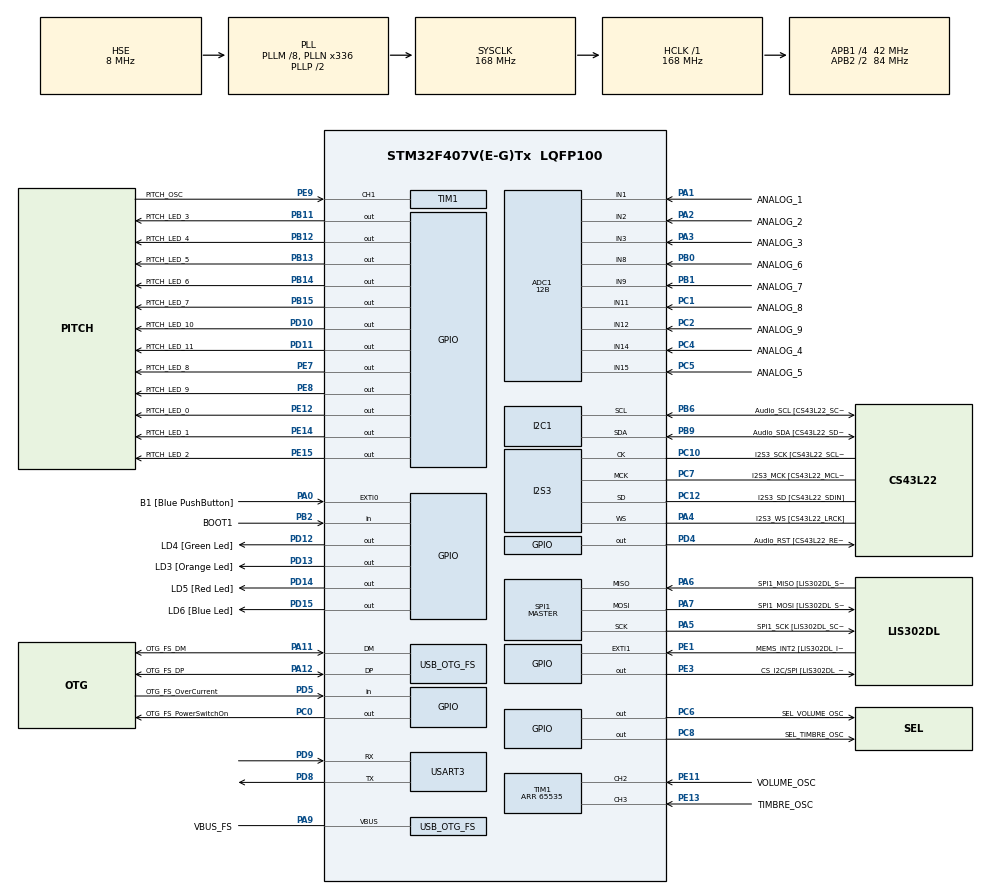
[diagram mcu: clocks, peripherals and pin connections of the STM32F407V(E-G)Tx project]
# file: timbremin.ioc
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ADC1.Channel-0\#ChannelRegularConversion=ADC_CHANNEL_1
ADC1.Channel-1\#ChannelRegularConversion=ADC_CHANNEL_2
ADC1.Channel-2\#ChannelRegularConversion=ADC_CHANNEL_3
ADC1.Channel-3\#ChannelRegularConversion=ADC_CHANNEL_14
ADC1.Channel-4\#ChannelRegularConversion=ADC_CHANNEL_15
ADC1.Channel-5\#ChannelRegularConversion=ADC_CHANNEL_8
ADC1.Channel-6\#ChannelRegularConversion=ADC_CHANNEL_9
ADC1.Channel-7\#ChannelRegularConversion=ADC_CHANNEL_11
ADC1.Channel-8\#ChannelRegularConversion=ADC_CHANNEL_12
ADC1.ClockPrescaler=ADC_CLOCK_SYNC_PCLK_DIV6
ADC1.ContinuousConvMode=DISABLE
ADC1.DMAContinuousRequests=ENABLE
ADC1.DataAlign=ADC_DATAALIGN_RIGHT
ADC1.DiscontinuousConvMode=DISABLE
ADC1.EOCSelection=ADC_EOC_SEQ_CONV
ADC1.EnableAnalogWatchDog=false
ADC1.ExternalTrigConv=ADC_SOFTWARE_START
ADC1.ExternalTrigConvEdge=ADC_EXTERNALTRIGCONVEDGE_NONE
ADC1.InjNumberOfConversion=0
ADC1.NbrOfConversion=9
ADC1.NbrOfConversionFlag=1
ADC1.Rank-0\#ChannelRegularConversion=1
ADC1.Rank-1\#ChannelRegularConversion=2
ADC1.Rank-2\#ChannelRegularConversion=3
ADC1.Rank-3\#ChannelRegularConversion=4
ADC1.Rank-4\#ChannelRegularConversion=5
ADC1.Rank-5\#ChannelRegularConversion=6
ADC1.Rank-6\#ChannelRegularConversion=7
ADC1.Rank-7\#ChannelRegularConversion=8
ADC1.Rank-8\#ChannelRegularConversion=9
ADC1.Resolution=ADC_RESOLUTION_12B
ADC1.SamplingTime-0\#ChannelRegularConversion=ADC_SAMPLETIME_112CYCLES
ADC1.SamplingTime-1\#ChannelRegularConversion=ADC_SAMPLETIME_112CYCLES
ADC1.SamplingTime-2\#ChannelRegularConversion=ADC_SAMPLETIME_112CYCLES
ADC1.SamplingTime-3\#ChannelRegularConversion=ADC_SAMPLETIME_112CYCLES
ADC1.SamplingTime-4\#ChannelRegularConversion=ADC_SAMPLETIME_112CYCLES
ADC1.SamplingTime-5\#ChannelRegularConversion=ADC_SAMPLETIME_112CYCLES
ADC1.SamplingTime-6\#ChannelRegularConversion=ADC_SAMPLETIME_112CYCLES
ADC1.SamplingTime-7\#ChannelRegularConversion=ADC_SAMPLETIME_112CYCLES
ADC1.SamplingTime-8\#ChannelRegularConversion=ADC_SAMPLETIME_112CYCLES
ADC1.ScanConvMode=ENABLE
ADC1.master=1
Dma.ADC1.0.Direction=DMA_PERIPH_TO_MEMORY
Dma.ADC1.0.FIFOMode=DMA_FIFOMODE_DISABLE
Dma.ADC1.0.Instance=DMA2_Stream0
Dma.ADC1.0.MemDataAlignment=DMA_MDATAALIGN_HALFWORD
Dma.ADC1.0.MemInc=DMA_MINC_ENABLE
Dma.ADC1.0.Mode=DMA_CIRCULAR
Dma.ADC1.0.PeriphDataAlignment=DMA_PDATAALIGN_HALFWORD
Dma.ADC1.0.PeriphInc=DMA_PINC_DISABLE
Dma.ADC1.0.Priority=DMA_PRIORITY_LOW
Dma.Request0=ADC1
I2S3.AudioFreq=I2S_AUDIOFREQ_48K
I2S3.AudioFreq-Half_Duplex_Master=I2S_AUDIOFREQ_96K
I2S3.DataFormat=I2S_DATAFORMAT_16B
I2S3.ErrorAudioFreq=-0.01 %
I2S3.ErrorAudioFreq-Half_Duplex_Master=0.8 %
I2S3.FullDuplexMode=I2S_FULLDUPLEXMODE_DISABLE
I2S3.Instance=SPI$Index
I2S3.RealAudioFreq=47.991 KHz
I2S3.RealAudioFreq-Half_Duplex_Master=96.774 KHz
I2S3.VirtualMode=I2S_MODE_MASTER
Mcu.Family=STM32F4
Mcu.Name=STM32F407V(E-G)Tx
Mcu.Package=LQFP100
NVIC.DMA2_Stream0_IRQn=true\:2\:0\:true\:false\:true\:false
NVIC.OTG_FS_IRQn=true\:1\:0\:true\:false\:true\:true
NVIC.PriorityGroup=NVIC_PRIORITYGROUP_3
NVIC.SPI3_IRQn=true\:0\:0\:false\:false\:true\:true
NVIC.USART3_IRQn=true\:0\:0\:false\:false\:true\:true
PA0-WKUP.GPIO_Label=B1 [Blue PushButton]
PA0-WKUP.GPIO_ModeDefaultEXTI=GPIO_MODE_EVT_RISING
PA0-WKUP.GPIO_PuPd=GPIO_NOPULL
PA0-WKUP.Signal=GPXTI0
PA1.GPIO_Label=ANALOG_1
PA1.GPIO_PuPd=GPIO_NOPULL
PA1.Signal=ADCx_IN1
PA10.GPIO_Label=OTG_FS_ID
PA10.GPIO_Mode=GPIO_MODE_AF_PP
PA10.GPIO_PuPd=GPIO_NOPULL
PA10.GPIO_Speed=GPIO_SPEED_FREQ_LOW
PA10.Signal=USB_OTG_FS_ID
PA11.GPIO_Label=OTG_FS_DM
PA11.GPIO_Mode=GPIO_MODE_AF_PP
PA11.GPIO_PuPd=GPIO_NOPULL
PA11.GPIO_Speed=GPIO_SPEED_FREQ_LOW
PA11.Mode=Host_Only
PA11.Signal=USB_OTG_FS_DM
PA12.GPIO_Label=OTG_FS_DP
PA12.GPIO_Mode=GPIO_MODE_AF_PP
PA12.GPIO_PuPd=GPIO_NOPULL
PA12.GPIO_Speed=GPIO_SPEED_FREQ_LOW
PA12.Mode=Host_Only
PA12.Signal=USB_OTG_FS_DP
PA13.GPIO_Label=SWDIO
PA13.Mode=Serial_Wire
PA13.Signal=SYS_JTMS-SWDIO
PA14.GPIO_Label=SWCLK
PA14.Mode=Serial_Wire
PA14.Signal=SYS_JTCK-SWCLK
PA2.GPIO_Label=ANALOG_2
PA2.GPIO_PuPd=GPIO_NOPULL
PA2.Signal=ADCx_IN2
PA3.GPIO_Label=ANALOG_3
PA3.GPIO_PuPd=GPIO_NOPULL
PA3.Signal=ADCx_IN3
PA4.GPIO_Label=I2S3_WS [CS43L22_LRCK]
PA4.GPIO_Mode=GPIO_MODE_AF_PP
PA4.GPIO_PuPd=GPIO_NOPULL
PA4.GPIO_Speed=GPIO_SPEED_FREQ_LOW
PA4.Mode=Half_Duplex_Master
PA4.Signal=I2S3_WS
PA5.GPIO_Label=SPI1_SCK [LIS302DL_SCL/SPC]
PA5.GPIO_Mode=GPIO_MODE_AF_PP
PA5.GPIO_PuPd=GPIO_NOPULL
PA5.GPIO_Speed=GPIO_SPEED_FREQ_LOW
PA5.Mode=Full_Duplex_Master
PA5.Signal=SPI1_SCK
PA6.GPIO_Label=SPI1_MISO [LIS302DL_SDO]
PA6.GPIO_Mode=GPIO_MODE_AF_PP
PA6.GPIO_PuPd=GPIO_NOPULL
PA6.GPIO_Speed=GPIO_SPEED_FREQ_LOW
PA6.Mode=Full_Duplex_Master
PA6.Signal=SPI1_MISO
PA7.GPIO_Label=SPI1_MOSI [LIS302DL_SDA/SDI/SDO]
PA7.GPIO_Mode=GPIO_MODE_AF_PP
PA7.GPIO_PuPd=GPIO_NOPULL
PA7.GPIO_Speed=GPIO_SPEED_FREQ_LOW
PA7.Mode=Full_Duplex_Master
PA7.Signal=SPI1_MOSI
PA9.GPIO_Label=VBUS_FS
PA9.GPIO_Mode=GPIO_MODE_INPUT
PA9.GPIO_PuPd=GPIO_NOPULL
PA9.Mode=Activate_VBUS
PA9.Signal=USB_OTG_FS_VBUS
PB0.GPIO_Label=ANALOG_6
PB0.GPIO_PuPd=GPIO_NOPULL
PB0.Signal=ADCx_IN8
PB1.GPIO_Label=ANALOG_7
PB1.GPIO_PuPd=GPIO_NOPULL
PB1.Signal=ADCx_IN9
PB10.GPIO_Label=CLK_IN [MP45DT02_CLK]
PB10.GPIO_Mode=GPIO_MODE_AF_PP
PB10.GPIO_PuPd=GPIO_NOPULL
PB10.GPIO_Speed=GPIO_SPEED_FREQ_LOW
PB10.Signal=I2S2_CK
PB11.GPIO_Label=PITCH_LED_3
PB11.Signal=GPIO_Output
PB12.GPIO_Label=PITCH_LED_4
PB12.Signal=GPIO_Output
PB13.GPIO_Label=PITCH_LED_5
PB13.Signal=GPIO_Output
PB14.GPIO_Label=PITCH_LED_6
PB14.Signal=GPIO_Output
PB15.GPIO_Label=PITCH_LED_7
PB15.Signal=GPIO_Output
PB2.GPIO_Label=BOOT1
PB2.GPIO_Mode=GPIO_MODE_INPUT
PB2.GPIO_PuPd=GPIO_NOPULL
PB2.Signal=GPIO_Input
PB3.GPIO_Label=SWO
PB3.Signal=SYS_JTDO-SWO
PB6.GPIO_Label=Audio_SCL [CS43L22_SCL]
PB6.GPIO_Mode=GPIO_MODE_AF_OD
PB6.GPIO_PuPd=GPIO_NOPULL
PB6.GPIO_Speed=GPIO_SPEED_FREQ_LOW
PB6.Mode=I2C
PB6.Signal=I2C1_SCL
PB9.GPIO_Label=Audio_SDA [CS43L22_SDA]
PB9.GPIO_Mode=GPIO_MODE_AF_OD
PB9.GPIO_PuPd=GPIO_NOPULL
PB9.GPIO_Speed=GPIO_SPEED_FREQ_LOW
PB9.Mode=I2C
PB9.Signal=I2C1_SDA
PC0.GPIO_Label=OTG_FS_PowerSwitchOn
PC0.GPIO_PuPd=GPIO_NOPULL
PC0.GPIO_Speed=GPIO_SPEED_FREQ_LOW
PC0.PinState=GPIO_PIN_SET
PC0.Signal=GPIO_Output
PC1.GPIO_Label=ANALOG_8
PC1.GPIO_PuPd=GPIO_NOPULL
PC1.Signal=ADCx_IN11
PC10.GPIO_Label=I2S3_SCK [CS43L22_SCLK]
PC10.GPIO_Mode=GPIO_MODE_AF_PP
PC10.GPIO_PuPd=GPIO_NOPULL
PC10.GPIO_Speed=GPIO_SPEED_FREQ_LOW
PC10.Mode=Half_Duplex_Master
PC10.Signal=I2S3_CK
PC12.GPIO_Label=I2S3_SD [CS43L22_SDIN]
PC12.GPIO_Mode=GPIO_MODE_AF_PP
PC12.GPIO_PuPd=GPIO_NOPULL
PC12.GPIO_Speed=GPIO_SPEED_FREQ_LOW
PC12.Mode=Half_Duplex_Master
PC12.Signal=I2S3_SD
PC14-OSC32_IN.GPIO_Label=PC14-OSC32_IN
PC14-OSC32_IN.Mode=LSE-External-Oscillator
PC14-OSC32_IN.Signal=RCC_OSC32_IN
PC15-OSC32_OUT.GPIO_Label=PC15-OSC32_OUT
PC15-OSC32_OUT.Mode=LSE-External-Oscillator
PC15-OSC32_OUT.Signal=RCC_OSC32_OUT
PC2.GPIO_Label=ANALOG_9
PC2.GPIO_PuPd=GPIO_NOPULL
PC2.Signal=ADCx_IN12
PC3.GPIO_Label=PDM_OUT [MP45DT02_DOUT]
PC3.GPIO_Mode=GPIO_MODE_AF_PP
PC3.GPIO_PuPd=GPIO_NOPULL
PC3.GPIO_Speed=GPIO_SPEED_FREQ_LOW
PC3.Signal=I2S2_SD
PC4.GPIO_Label=ANALOG_4
PC4.GPIO_PuPd=GPIO_NOPULL
PC4.Signal=ADCx_IN14
PC5.GPIO_Label=ANALOG_5
PC5.GPIO_PuPd=GPIO_NOPULL
PC5.Signal=ADCx_IN15
PC6.GPIO_Label=SEL_VOLUME_OSC
PC6.Signal=GPIO_Output
PC7.GPIO_Label=I2S3_MCK [CS43L22_MCLK]
PC7.GPIO_Mode=GPIO_MODE_AF_PP
PC7.GPIO_PuPd=GPIO_NOPULL
PC7.GPIO_Speed=GPIO_SPEED_FREQ_LOW
PC7.Mode=Master_Clock_Activated
PC7.Signal=I2S3_MCK
PC8.GPIO_Label=SEL_TIMBRE_OSC
PC8.Signal=GPIO_Output
PD10.GPIO_Label=PITCH_LED_10
PD10.Signal=GPIO_Output
PD11.GPIO_Label=PITCH_LED_11
PD11.Signal=GPIO_Output
PD12.GPIO_Label=LD4 [Green Led]
PD12.GPIO_PuPd=GPIO_NOPULL
PD12.GPIO_Speed=GPIO_SPEED_FREQ_LOW
PD12.Signal=GPIO_Output
PD13.GPIO_Label=LD3 [Orange Led]
PD13.GPIO_PuPd=GPIO_NOPULL
PD13.GPIO_Speed=GPIO_SPEED_FREQ_LOW
PD13.Signal=GPIO_Output
PD14.GPIO_Label=LD5 [Red Led]
PD14.GPIO_PuPd=GPIO_NOPULL
PD14.GPIO_Speed=GPIO_SPEED_FREQ_LOW
PD14.Signal=GPIO_Output
PD15.GPIO_Label=LD6 [Blue Led]
PD15.GPIO_PuPd=GPIO_NOPULL
PD15.GPIO_Speed=GPIO_SPEED_FREQ_LOW
PD15.Signal=GPIO_Output
PD4.GPIO_Label=Audio_RST [CS43L22_RESET]
PD4.GPIO_PuPd=GPIO_NOPULL
PD4.GPIO_Speed=GPIO_SPEED_FREQ_LOW
PD4.Signal=GPIO_Output
PD5.GPIO_Label=OTG_FS_OverCurrent
PD5.GPIO_Mode=GPIO_MODE_INPUT
PD5.GPIO_PuPd=GPIO_NOPULL
PD5.Signal=GPIO_Input
PD8.Mode=Asynchronous
PD8.Signal=USART3_TX
PD9.Mode=Asynchronous
PD9.Signal=USART3_RX
PE1.GPIO_Label=MEMS_INT2 [LIS302DL_INT2]
PE1.GPIO_ModeDefaultEXTI=GPIO_MODE_EVT_RISING
PE1.GPIO_PuPd=GPIO_NOPULL
PE1.Signal=GPXTI1
PE11.GPIO_Label=VOLUME_OSC
PE11.Signal=S_TIM1_CH2
PE12.GPIO_Label=PITCH_LED_0
PE12.Signal=GPIO_Output
PE13.GPIO_Label=TIMBRE_OSC
PE13.Signal=S_TIM1_CH3
PE14.GPIO_Label=PITCH_LED_1
PE14.Signal=GPIO_Output
PE15.GPIO_Label=PITCH_LED_2
PE15.Signal=GPIO_Output
PE3.GPIO_Label=CS_I2C/SPI [LIS302DL_CS_I2C/SPI]
PE3.GPIO_PuPd=GPIO_NOPULL
PE3.GPIO_Speed=GPIO_SPEED_FREQ_LOW
PE3.Signal=GPIO_Output
PE7.GPIO_Label=PITCH_LED_8
PE7.Signal=GPIO_Output
PE8.GPIO_Label=PITCH_LED_9
PE8.Signal=GPIO_Output
PE9.GPIO_Label=PITCH_OSC
PE9.Signal=S_TIM1_CH1
PH0-OSC_IN.GPIO_Label=PH0-OSC_IN
PH0-OSC_IN.Mode=HSE-External-Oscillator
PH0-OSC_IN.Signal=RCC_OSC_IN
PH1-OSC_OUT.GPIO_Label=PH1-OSC_OUT
PH1-OSC_OUT.Mode=HSE-External-Oscillator
PH1-OSC_OUT.Signal=RCC_OSC_OUT
ProjectManager.HeapSize=0x200
ProjectManager.StackSize=0x400
ProjectManager.TargetToolchain=SW4STM32
RCC.48MHZClocksFreq_Value=48000000
RCC.AHBFreq_Value=168000000
RCC.APB1CLKDivider=RCC_HCLK_DIV4
RCC.APB1Freq_Value=42000000
RCC.APB1TimFreq_Value=84000000
RCC.APB2CLKDivider=RCC_HCLK_DIV2
RCC.APB2Freq_Value=84000000
RCC.APB2TimFreq_Value=168000000
RCC.CortexFreq_Value=168000000
RCC.HCLKFreq_Value=168000000
RCC.HSE_VALUE=8000000
RCC.HSI_VALUE=16000000
RCC.PLLI2SN=258
RCC.PLLI2SR=3
RCC.PLLM=8
RCC.PLLN=336
RCC.PLLQ=7
RCC.SYSCLKFreq_VALUE=168000000
RCC.SYSCLKSource=RCC_SYSCLKSOURCE_PLLCLK
RCC.VCOOutputFreq_Value=336000000
SH.ADCx_IN1.0=ADC1_IN1,IN1
SH.ADCx_IN11.0=ADC1_IN11,IN11
SH.ADCx_IN12.0=ADC1_IN12,IN12
SH.ADCx_IN14.0=ADC1_IN14,IN14
SH.ADCx_IN15.0=ADC1_IN15,IN15
SH.ADCx_IN2.0=ADC1_IN2,IN2
SH.ADCx_IN3.0=ADC1_IN3,IN3
SH.ADCx_IN8.0=ADC1_IN8,IN8
SH.ADCx_IN9.0=ADC1_IN9,IN9
SH.S_TIM1_CH1.0=TIM1_CH1,Input_Capture1_from_TI1
SH.S_TIM1_CH2.0=TIM1_CH2,Input_Capture2_from_TI2
SH.S_TIM1_CH3.0=TIM1_CH3,Input_Capture3_from_TI3
SPI1.BaudRatePrescaler-Full_Duplex_Master=SPI_BAUDRATEPRESCALER_2
SPI1.CalculateBaudRate-Full_Duplex_Master=42.0 MBits/s
SPI1.Direction=SPI_DIRECTION_2LINES
SPI1.Mode=SPI_MODE_MASTER
SPI1.Mode-Full_Duplex_Master=SPI_MODE_MASTER
SPI1.VirtualType=VM_MASTER
TIM1.Channel-Input_Capture1_from_TI1=TIM_CHANNEL_1
TIM1.Channel-Input_Capture2_from_TI2=TIM_CHANNEL_2
TIM1.Channel-Input_Capture3_from_TI3=TIM_CHANNEL_3
TIM1.ICPrescaler-Input_Capture1_from_TI1=TIM_ICPSC_DIV8
TIM1.ICPrescaler-Input_Capture2_from_TI2=TIM_ICPSC_DIV8
TIM1.ICPrescaler-Input_Capture3_from_TI3=TIM_ICPSC_DIV8
TIM1.Period=65535
USART3.VirtualMode=VM_ASYNC
USB_HOST.BSP.number=1
USB_HOST.USBH_HandleTypeDef-MSC_FS=hUsbHostFS
USB_HOST.VirtualModeFS=Msc
USB_HOST0.BSP.STBoard=false
USB_HOST0.BSP.api=UnknownBspDriver
USB_HOST0.BSP.i2caddr=0
USB_HOST0.BSP.i2creg=0
USB_HOST0.BSP.instance=PC0
USB_HOST0.BSP.ip=GPIO
USB_HOST0.BSP.mode=Output
USB_HOST0.BSP.name=Drive_VBUS_FS
USB_HOST0.BSP.solution=PC0
USB_OTG_FS.VirtualMode=Host_Only
USB_OTG_FS.phy_itface=HCD_PHY_EMBEDDED
VP_FATFS_VS_USB.Mode=USB
VP_RNG_VS_RNG.Mode=RNG_Activate
VP_TIM1_VS_ClockSourceINT.Mode=Internal
VP_USB_HOST_VS_USB_HOST_MSC_FS.Mode=MSC_FS
board=STM32F4DISCOVERY

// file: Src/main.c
/**
  ******************************************************************************
  * @file           : main.c
  * @brief          : Main program body
  ******************************************************************************
  * This notice applies to any and all portions of this file
  * that are not between comment pairs USER CODE BEGIN and
  * USER CODE END. Other portions of this file, whether
  * inserted by the user or by software development tools
  * are owned by their respective copyright owners.
  *
  * Copyright (c) 2019 STMicroelectronics International N.V.
  * All rights reserved.
  *
  * Redistribution and use in source and binary forms, with or without
  * modification, are permitted, provided that the following conditions are met:
  *
  * 1. Redistribution of source code must retain the above copyright notice,
  *    this list of conditions and the following disclaimer.
  * 2. Redistributions in binary form must reproduce the above copyright notice,
  *    this list of conditions and the following disclaimer in the documentation
  *    and/or other materials provided with the distribution.
  * 3. Neither the name of STMicroelectronics nor the names of other
  *    contributors to this software may be used to endorse or promote products
  *    derived from this software without specific written permission.
  * 4. This software, including modifications and/or derivative works of this
  *    software, must execute solely and exclusively on microcontroller or
  *    microprocessor devices manufactured by or for STMicroelectronics.
  * 5. Redistribution and use of this software other than as permitted under
  *    this license is void and will automatically terminate your rights under
  *    this license.
  *
  * THIS SOFTWARE IS PROVIDED BY STMICROELECTRONICS AND CONTRIBUTORS "AS IS"
  * AND ANY EXPRESS, IMPLIED OR STATUTORY WARRANTIES, INCLUDING, BUT NOT
  * LIMITED TO, THE IMPLIED WARRANTIES OF MERCHANTABILITY, FITNESS FOR A
  * PARTICULAR PURPOSE AND NON-INFRINGEMENT OF THIRD PARTY INTELLECTUAL PROPERTY
  * RIGHTS ARE DISCLAIMED TO THE FULLEST EXTENT PERMITTED BY LAW. IN NO EVENT
  * SHALL STMICROELECTRONICS OR CONTRIBUTORS BE LIABLE FOR ANY DIRECT, INDIRECT,
  * INCIDENTAL, SPECIAL, EXEMPLARY, OR CONSEQUENTIAL DAMAGES (INCLUDING, BUT NOT
  * LIMITED TO, PROCUREMENT OF SUBSTITUTE GOODS OR SERVICES; LOSS OF USE, DATA,
  * OR PROFITS; OR BUSINESS INTERRUPTION) HOWEVER CAUSED AND ON ANY THEORY OF
  * LIABILITY, WHETHER IN CONTRACT, STRICT LIABILITY, OR TORT (INCLUDING
  * NEGLIGENCE OR OTHERWISE) ARISING IN ANY WAY OUT OF THE USE OF THIS SOFTWARE,
  * EVEN IF ADVISED OF THE POSSIBILITY OF SUCH DAMAGE.
  *
  ******************************************************************************
  */
#include "main.h"
#include "stm32f4xx_hal.h"
#include "fatfs.h"
#include "usb_host.h"

/* USER CODE BEGIN Includes */
#include "../Drivers/BSP/STM32F4-Discovery/stm32f4_discovery.h"
#include "audio_out.h"
#include "theremin.h"
#include "pots.h"
#include "config.h"
#include "beep.h"
#include "volume.h"
#include "pitch.h"
#include "effect.h"
#include "printf.h"
#include "console.h"
/* USER CODE END Includes */

ADC_HandleTypeDef hadc1;
DMA_HandleTypeDef hdma_adc1;

I2C_HandleTypeDef hi2c1;

I2S_HandleTypeDef hi2s3;

RNG_HandleTypeDef hrng;

SPI_HandleTypeDef hspi1;

TIM_HandleTypeDef htim1;

UART_HandleTypeDef huart3;

/* USER CODE BEGIN PV */
/* Private variables ---------------------------------------------------------*/

/* USER CODE END PV */

void SystemClock_Config(void);
static void MX_GPIO_Init(void);
static void MX_DMA_Init(void);
static void MX_I2C1_Init(void);
static void MX_I2S3_Init(void);
static void MX_SPI1_Init(void);
static void MX_TIM1_Init(void);
static void MX_ADC1_Init(void);
static void MX_RNG_Init(void);
static void MX_USART3_UART_Init(void);
void MX_USB_HOST_Process(void);

/* USER CODE BEGIN PFP */
/* Private function prototypes -----------------------------------------------*/

/* USER CODE END PFP */

/* USER CODE BEGIN 0 */
//extern void initialise_monitor_handles(void);
int siFlag1ms = 0;

/* USER CODE END 0 */

int main(void)
{

  /* MCU Configuration----------------------------------------------------------*/

  /* Reset of all peripherals, Initializes the Flash interface and the Systick. */
  HAL_Init();

  /* Configure the system clock */
  SystemClock_Config();

  /* Initialize all configured peripherals */
  MX_GPIO_Init();
  MX_DMA_Init();
  MX_I2C1_Init();
  MX_I2S3_Init();
  MX_SPI1_Init();
  MX_USB_HOST_Init();
  MX_TIM1_Init();
  MX_ADC1_Init();
  MX_FATFS_Init();
  MX_RNG_Init();
  MX_USART3_UART_Init();
  /* USER CODE BEGIN 2 */
  CONFIG_Init();
  POTS_Init();
  BEEP_Init();
  VOLUME_Init();
  THEREMIN_Init();
  AUDIO_OUT_Init();
  EFFECT_Init();
  CONSOLE_Init(huart3);

  HAL_TIM_Base_Start(&htim1);
  HAL_TIM_IC_Start(&htim1,TIM_CHANNEL_1);
  HAL_TIM_IC_Start(&htim1,TIM_CHANNEL_2);
  HAL_TIM_IC_Start(&htim1,TIM_CHANNEL_3);

  BSP_PB_Init(BUTTON_KEY, BUTTON_MODE_GPIO);
  /* USER CODE END 2 */

  /* Infinite loop */
  while (1)
  {
    MX_USB_HOST_Process();

  /* USER CODE BEGIN 3 */
	if (siFlag1ms)
	{
		siFlag1ms = 0;
	    THEREMIN_1msTask();
	    VOLUME_1msTask();
	    PITCH_1msTask();
	    POTS_1msTask();
	    AUDIO_OUT_1msTask();
	    CONSOLE_1msTask();
	    EFFECT_1msTask();
	}
  }
  /* USER CODE END 3 */

}

void SystemClock_Config(void)
{

  RCC_OscInitTypeDef RCC_OscInitStruct;
  RCC_ClkInitTypeDef RCC_ClkInitStruct;
  RCC_PeriphCLKInitTypeDef PeriphClkInitStruct;

    /**Configure the main internal regulator output voltage
    */
  __HAL_RCC_PWR_CLK_ENABLE();

  __HAL_PWR_VOLTAGESCALING_CONFIG(PWR_REGULATOR_VOLTAGE_SCALE1);

    /**Initializes the CPU, AHB and APB busses clocks
    */
  RCC_OscInitStruct.OscillatorType = RCC_OSCILLATORTYPE_HSE;
  RCC_OscInitStruct.HSEState = RCC_HSE_ON;
  RCC_OscInitStruct.PLL.PLLState = RCC_PLL_ON;
  RCC_OscInitStruct.PLL.PLLSource = RCC_PLLSOURCE_HSE;
  RCC_OscInitStruct.PLL.PLLM = 8;
  RCC_OscInitStruct.PLL.PLLN = 336;
  RCC_OscInitStruct.PLL.PLLP = RCC_PLLP_DIV2;
  RCC_OscInitStruct.PLL.PLLQ = 7;
  if (HAL_RCC_OscConfig(&RCC_OscInitStruct) != HAL_OK)
  {
    _Error_Handler(__FILE__, __LINE__);
  }

    /**Initializes the CPU, AHB and APB busses clocks
    */
  RCC_ClkInitStruct.ClockType = RCC_CLOCKTYPE_HCLK|RCC_CLOCKTYPE_SYSCLK
                              |RCC_CLOCKTYPE_PCLK1|RCC_CLOCKTYPE_PCLK2;
  RCC_ClkInitStruct.SYSCLKSource = RCC_SYSCLKSOURCE_PLLCLK;
  RCC_ClkInitStruct.AHBCLKDivider = RCC_SYSCLK_DIV1;
  RCC_ClkInitStruct.APB1CLKDivider = RCC_HCLK_DIV4;
  RCC_ClkInitStruct.APB2CLKDivider = RCC_HCLK_DIV2;

  if (HAL_RCC_ClockConfig(&RCC_ClkInitStruct, FLASH_LATENCY_5) != HAL_OK)
  {
    _Error_Handler(__FILE__, __LINE__);
  }

  PeriphClkInitStruct.PeriphClockSelection = RCC_PERIPHCLK_I2S;
  PeriphClkInitStruct.PLLI2S.PLLI2SN = 258;
  PeriphClkInitStruct.PLLI2S.PLLI2SR = 3;
  if (HAL_RCCEx_PeriphCLKConfig(&PeriphClkInitStruct) != HAL_OK)
  {
    _Error_Handler(__FILE__, __LINE__);
  }

    /**Configure the Systick interrupt time
    */
  HAL_SYSTICK_Config(HAL_RCC_GetHCLKFreq()/1000);

    /**Configure the Systick
    */
  HAL_SYSTICK_CLKSourceConfig(SYSTICK_CLKSOURCE_HCLK);

  /* SysTick_IRQn interrupt configuration */
  HAL_NVIC_SetPriority(SysTick_IRQn, 2, 0);
}

/* ADC1 init function */
static void MX_ADC1_Init(void)
{

  ADC_ChannelConfTypeDef sConfig;

    /**Configure the global features of the ADC (Clock, Resolution, Data Alignment and number of conversion)
    */
  hadc1.Instance = ADC1;
  hadc1.Init.ClockPrescaler = ADC_CLOCK_SYNC_PCLK_DIV6;
  hadc1.Init.Resolution = ADC_RESOLUTION_12B;
  hadc1.Init.ScanConvMode = ENABLE;
  hadc1.Init.ContinuousConvMode = DISABLE;
  hadc1.Init.DiscontinuousConvMode = DISABLE;
  hadc1.Init.ExternalTrigConvEdge = ADC_EXTERNALTRIGCONVEDGE_NONE;
  hadc1.Init.ExternalTrigConv = ADC_SOFTWARE_START;
  hadc1.Init.DataAlign = ADC_DATAALIGN_RIGHT;
  hadc1.Init.NbrOfConversion = 9;
  hadc1.Init.DMAContinuousRequests = ENABLE;
  hadc1.Init.EOCSelection = ADC_EOC_SEQ_CONV;
  if (HAL_ADC_Init(&hadc1) != HAL_OK)
  {
    _Error_Handler(__FILE__, __LINE__);
  }

    /**Configure for the selected ADC regular channel its corresponding rank in the sequencer and its sample time.
    */
  sConfig.Channel = ADC_CHANNEL_1;
  sConfig.Rank = 1;
  sConfig.SamplingTime = ADC_SAMPLETIME_112CYCLES;
  if (HAL_ADC_ConfigChannel(&hadc1, &sConfig) != HAL_OK)
  {
    _Error_Handler(__FILE__, __LINE__);
  }

    /**Configure for the selected ADC regular channel its corresponding rank in the sequencer and its sample time.
    */
  sConfig.Channel = ADC_CHANNEL_2;
  sConfig.Rank = 2;
  if (HAL_ADC_ConfigChannel(&hadc1, &sConfig) != HAL_OK)
  {
    _Error_Handler(__FILE__, __LINE__);
  }

    /**Configure for the selected ADC regular channel its corresponding rank in the sequencer and its sample time.
    */
  sConfig.Channel = ADC_CHANNEL_3;
  sConfig.Rank = 3;
  if (HAL_ADC_ConfigChannel(&hadc1, &sConfig) != HAL_OK)
  {
    _Error_Handler(__FILE__, __LINE__);
  }

    /**Configure for the selected ADC regular channel its corresponding rank in the sequencer and its sample time.
    */
  sConfig.Channel = ADC_CHANNEL_14;
  sConfig.Rank = 4;
  if (HAL_ADC_ConfigChannel(&hadc1, &sConfig) != HAL_OK)
  {
    _Error_Handler(__FILE__, __LINE__);
  }

    /**Configure for the selected ADC regular channel its corresponding rank in the sequencer and its sample time.
    */
  sConfig.Channel = ADC_CHANNEL_15;
  sConfig.Rank = 5;
  if (HAL_ADC_ConfigChannel(&hadc1, &sConfig) != HAL_OK)
  {
    _Error_Handler(__FILE__, __LINE__);
  }

    /**Configure for the selected ADC regular channel its corresponding rank in the sequencer and its sample time.
    */
  sConfig.Channel = ADC_CHANNEL_8;
  sConfig.Rank = 6;
  if (HAL_ADC_ConfigChannel(&hadc1, &sConfig) != HAL_OK)
  {
    _Error_Handler(__FILE__, __LINE__);
  }

    /**Configure for the selected ADC regular channel its corresponding rank in the sequencer and its sample time.
    */
  sConfig.Channel = ADC_CHANNEL_9;
  sConfig.Rank = 7;
  if (HAL_ADC_ConfigChannel(&hadc1, &sConfig) != HAL_OK)
  {
    _Error_Handler(__FILE__, __LINE__);
  }

    /**Configure for the selected ADC regular channel its corresponding rank in the sequencer and its sample time.
    */
  sConfig.Channel = ADC_CHANNEL_11;
  sConfig.Rank = 8;
  if (HAL_ADC_ConfigChannel(&hadc1, &sConfig) != HAL_OK)
  {
    _Error_Handler(__FILE__, __LINE__);
  }

    /**Configure for the selected ADC regular channel its corresponding rank in the sequencer and its sample time.
    */
  sConfig.Channel = ADC_CHANNEL_12;
  sConfig.Rank = 9;
  if (HAL_ADC_ConfigChannel(&hadc1, &sConfig) != HAL_OK)
  {
    _Error_Handler(__FILE__, __LINE__);
  }

}

/* I2C1 init function */
static void MX_I2C1_Init(void)
{

  hi2c1.Instance = I2C1;
  hi2c1.Init.ClockSpeed = 100000;
  hi2c1.Init.DutyCycle = I2C_DUTYCYCLE_2;
  hi2c1.Init.OwnAddress1 = 0;
  hi2c1.Init.AddressingMode = I2C_ADDRESSINGMODE_7BIT;
  hi2c1.Init.DualAddressMode = I2C_DUALADDRESS_DISABLE;
  hi2c1.Init.OwnAddress2 = 0;
  hi2c1.Init.GeneralCallMode = I2C_GENERALCALL_DISABLE;
  hi2c1.Init.NoStretchMode = I2C_NOSTRETCH_DISABLE;
  if (HAL_I2C_Init(&hi2c1) != HAL_OK)
  {
    _Error_Handler(__FILE__, __LINE__);
  }

}

/* I2S3 init function */
static void MX_I2S3_Init(void)
{

  hi2s3.Instance = SPI3;
  hi2s3.Init.Mode = I2S_MODE_MASTER_TX;
  hi2s3.Init.Standard = I2S_STANDARD_PHILIPS;
  hi2s3.Init.DataFormat = I2S_DATAFORMAT_16B;
  hi2s3.Init.MCLKOutput = I2S_MCLKOUTPUT_ENABLE;
  hi2s3.Init.AudioFreq = I2S_AUDIOFREQ_48K;
  hi2s3.Init.CPOL = I2S_CPOL_LOW;
  hi2s3.Init.ClockSource = I2S_CLOCK_PLL;
  hi2s3.Init.FullDuplexMode = I2S_FULLDUPLEXMODE_DISABLE;
  if (HAL_I2S_Init(&hi2s3) != HAL_OK)
  {
    _Error_Handler(__FILE__, __LINE__);
  }

}

/* RNG init function */
static void MX_RNG_Init(void)
{

  hrng.Instance = RNG;
  if (HAL_RNG_Init(&hrng) != HAL_OK)
  {
    _Error_Handler(__FILE__, __LINE__);
  }

}

/* SPI1 init function */
static void MX_SPI1_Init(void)
{

  /* SPI1 parameter configuration*/
  hspi1.Instance = SPI1;
  hspi1.Init.Mode = SPI_MODE_MASTER;
  hspi1.Init.Direction = SPI_DIRECTION_2LINES;
  hspi1.Init.DataSize = SPI_DATASIZE_8BIT;
  hspi1.Init.CLKPolarity = SPI_POLARITY_LOW;
  hspi1.Init.CLKPhase = SPI_PHASE_1EDGE;
  hspi1.Init.NSS = SPI_NSS_SOFT;
  hspi1.Init.BaudRatePrescaler = SPI_BAUDRATEPRESCALER_2;
  hspi1.Init.FirstBit = SPI_FIRSTBIT_MSB;
  hspi1.Init.TIMode = SPI_TIMODE_DISABLE;
  hspi1.Init.CRCCalculation = SPI_CRCCALCULATION_DISABLE;
  hspi1.Init.CRCPolynomial = 10;
  if (HAL_SPI_Init(&hspi1) != HAL_OK)
  {
    _Error_Handler(__FILE__, __LINE__);
  }

}

/* TIM1 init function */
static void MX_TIM1_Init(void)
{

  TIM_ClockConfigTypeDef sClockSourceConfig;
  TIM_MasterConfigTypeDef sMasterConfig;
  TIM_IC_InitTypeDef sConfigIC;

  htim1.Instance = TIM1;
  htim1.Init.Prescaler = 0;
  htim1.Init.CounterMode = TIM_COUNTERMODE_UP;
  htim1.Init.Period = 65535;
  htim1.Init.ClockDivision = TIM_CLOCKDIVISION_DIV1;
  htim1.Init.RepetitionCounter = 0;
  if (HAL_TIM_Base_Init(&htim1) != HAL_OK)
  {
    _Error_Handler(__FILE__, __LINE__);
  }

  sClockSourceConfig.ClockSource = TIM_CLOCKSOURCE_INTERNAL;
  if (HAL_TIM_ConfigClockSource(&htim1, &sClockSourceConfig) != HAL_OK)
  {
    _Error_Handler(__FILE__, __LINE__);
  }

  if (HAL_TIM_IC_Init(&htim1) != HAL_OK)
  {
    _Error_Handler(__FILE__, __LINE__);
  }

  sMasterConfig.MasterOutputTrigger = TIM_TRGO_RESET;
  sMasterConfig.MasterSlaveMode = TIM_MASTERSLAVEMODE_DISABLE;
  if (HAL_TIMEx_MasterConfigSynchronization(&htim1, &sMasterConfig) != HAL_OK)
  {
    _Error_Handler(__FILE__, __LINE__);
  }

  sConfigIC.ICPolarity = TIM_INPUTCHANNELPOLARITY_RISING;
  sConfigIC.ICSelection = TIM_ICSELECTION_DIRECTTI;
  sConfigIC.ICPrescaler = TIM_ICPSC_DIV8;
  sConfigIC.ICFilter = 0;
  if (HAL_TIM_IC_ConfigChannel(&htim1, &sConfigIC, TIM_CHANNEL_1) != HAL_OK)
  {
    _Error_Handler(__FILE__, __LINE__);
  }

  if (HAL_TIM_IC_ConfigChannel(&htim1, &sConfigIC, TIM_CHANNEL_2) != HAL_OK)
  {
    _Error_Handler(__FILE__, __LINE__);
  }

  if (HAL_TIM_IC_ConfigChannel(&htim1, &sConfigIC, TIM_CHANNEL_3) != HAL_OK)
  {
    _Error_Handler(__FILE__, __LINE__);
  }

}

/* USART3 init function */
static void MX_USART3_UART_Init(void)
{

  huart3.Instance = USART3;
  huart3.Init.BaudRate = 115200;
  huart3.Init.WordLength = UART_WORDLENGTH_8B;
  huart3.Init.StopBits = UART_STOPBITS_1;
  huart3.Init.Parity = UART_PARITY_NONE;
  huart3.Init.Mode = UART_MODE_TX_RX;
  huart3.Init.HwFlowCtl = UART_HWCONTROL_NONE;
  huart3.Init.OverSampling = UART_OVERSAMPLING_16;
  if (HAL_UART_Init(&huart3) != HAL_OK)
  {
    _Error_Handler(__FILE__, __LINE__);
  }

}

static void MX_DMA_Init(void)
{
  /* DMA controller clock enable */
  __HAL_RCC_DMA2_CLK_ENABLE();

  /* DMA interrupt init */
  /* DMA2_Stream0_IRQn interrupt configuration */
  HAL_NVIC_SetPriority(DMA2_Stream0_IRQn, 2, 0);
  HAL_NVIC_EnableIRQ(DMA2_Stream0_IRQn);

}

/** Configure pins as
        * Analog
        * Input
        * Output
        * EVENT_OUT
        * EXTI
     PC3   ------> I2S2_SD
     PB10   ------> I2S2_CK
*/
static void MX_GPIO_Init(void)
{

  GPIO_InitTypeDef GPIO_InitStruct;

  /* GPIO Ports Clock Enable */
  __HAL_RCC_GPIOE_CLK_ENABLE();
  __HAL_RCC_GPIOC_CLK_ENABLE();
  __HAL_RCC_GPIOH_CLK_ENABLE();
  __HAL_RCC_GPIOA_CLK_ENABLE();
  __HAL_RCC_GPIOB_CLK_ENABLE();
  __HAL_RCC_GPIOD_CLK_ENABLE();

  /*Configure GPIO pin Output Level */
  HAL_GPIO_WritePin(GPIOE, CS_I2C_SPI_Pin|PITCH_LED_8_Pin|PITCH_LED_9_Pin|PITCH_LED_0_Pin
                          |PITCH_LED_1_Pin|PITCH_LED_2_Pin, GPIO_PIN_RESET);

  /*Configure GPIO pin Output Level */
  HAL_GPIO_WritePin(OTG_FS_PowerSwitchOn_GPIO_Port, OTG_FS_PowerSwitchOn_Pin, GPIO_PIN_SET);

  /*Configure GPIO pin Output Level */
  HAL_GPIO_WritePin(GPIOB, PITCH_LED_3_Pin|PITCH_LED_4_Pin|PITCH_LED_5_Pin|PITCH_LED_6_Pin
                          |PITCH_LED_7_Pin, GPIO_PIN_RESET);

  /*Configure GPIO pin Output Level */
  HAL_GPIO_WritePin(GPIOD, PITCH_LED_10_Pin|PITCH_LED_11_Pin|LD4_Pin|LD3_Pin
                          |LD5_Pin|LD6_Pin|Audio_RST_Pin, GPIO_PIN_RESET);

  /*Configure GPIO pin Output Level */
  HAL_GPIO_WritePin(GPIOC, SEL_VOLUME_OSC_Pin|SEL_TIMBRE_OSC_Pin, GPIO_PIN_RESET);

  /*Configure GPIO pins : CS_I2C_SPI_Pin PITCH_LED_8_Pin PITCH_LED_9_Pin PITCH_LED_0_Pin
                           PITCH_LED_1_Pin PITCH_LED_2_Pin */
  GPIO_InitStruct.Pin = CS_I2C_SPI_Pin|PITCH_LED_8_Pin|PITCH_LED_9_Pin|PITCH_LED_0_Pin
                          |PITCH_LED_1_Pin|PITCH_LED_2_Pin;
  GPIO_InitStruct.Mode = GPIO_MODE_OUTPUT_PP;
  GPIO_InitStruct.Pull = GPIO_NOPULL;
  GPIO_InitStruct.Speed = GPIO_SPEED_FREQ_LOW;
  HAL_GPIO_Init(GPIOE, &GPIO_InitStruct);

  /*Configure GPIO pins : OTG_FS_PowerSwitchOn_Pin SEL_VOLUME_OSC_Pin SEL_TIMBRE_OSC_Pin */
  GPIO_InitStruct.Pin = OTG_FS_PowerSwitchOn_Pin|SEL_VOLUME_OSC_Pin|SEL_TIMBRE_OSC_Pin;
  GPIO_InitStruct.Mode = GPIO_MODE_OUTPUT_PP;
  GPIO_InitStruct.Pull = GPIO_NOPULL;
  GPIO_InitStruct.Speed = GPIO_SPEED_FREQ_LOW;
  HAL_GPIO_Init(GPIOC, &GPIO_InitStruct);

  /*Configure GPIO pin : PDM_OUT_Pin */
  GPIO_InitStruct.Pin = PDM_OUT_Pin;
  GPIO_InitStruct.Mode = GPIO_MODE_AF_PP;
  GPIO_InitStruct.Pull = GPIO_NOPULL;
  GPIO_InitStruct.Speed = GPIO_SPEED_FREQ_LOW;
  GPIO_InitStruct.Alternate = GPIO_AF5_SPI2;
  HAL_GPIO_Init(PDM_OUT_GPIO_Port, &GPIO_InitStruct);

  /*Configure GPIO pin : B1_Pin */
  GPIO_InitStruct.Pin = B1_Pin;
  GPIO_InitStruct.Mode = GPIO_MODE_EVT_RISING;
  GPIO_InitStruct.Pull = GPIO_NOPULL;
  HAL_GPIO_Init(B1_GPIO_Port, &GPIO_InitStruct);

  /*Configure GPIO pin : BOOT1_Pin */
  GPIO_InitStruct.Pin = BOOT1_Pin;
  GPIO_InitStruct.Mode = GPIO_MODE_INPUT;
  GPIO_InitStruct.Pull = GPIO_NOPULL;
  HAL_GPIO_Init(BOOT1_GPIO_Port, &GPIO_InitStruct);

  /*Configure GPIO pin : CLK_IN_Pin */
  GPIO_InitStruct.Pin = CLK_IN_Pin;
  GPIO_InitStruct.Mode = GPIO_MODE_AF_PP;
  GPIO_InitStruct.Pull = GPIO_NOPULL;
  GPIO_InitStruct.Speed = GPIO_SPEED_FREQ_LOW;
  GPIO_InitStruct.Alternate = GPIO_AF5_SPI2;
  HAL_GPIO_Init(CLK_IN_GPIO_Port, &GPIO_InitStruct);

  /*Configure GPIO pins : PITCH_LED_3_Pin PITCH_LED_4_Pin PITCH_LED_5_Pin PITCH_LED_6_Pin
                           PITCH_LED_7_Pin */
  GPIO_InitStruct.Pin = PITCH_LED_3_Pin|PITCH_LED_4_Pin|PITCH_LED_5_Pin|PITCH_LED_6_Pin
                          |PITCH_LED_7_Pin;
  GPIO_InitStruct.Mode = GPIO_MODE_OUTPUT_PP;
  GPIO_InitStruct.Pull = GPIO_NOPULL;
  GPIO_InitStruct.Speed = GPIO_SPEED_FREQ_LOW;
  HAL_GPIO_Init(GPIOB, &GPIO_InitStruct);

  /*Configure GPIO pins : PITCH_LED_10_Pin PITCH_LED_11_Pin LD4_Pin LD3_Pin
                           LD5_Pin LD6_Pin Audio_RST_Pin */
  GPIO_InitStruct.Pin = PITCH_LED_10_Pin|PITCH_LED_11_Pin|LD4_Pin|LD3_Pin
                          |LD5_Pin|LD6_Pin|Audio_RST_Pin;
  GPIO_InitStruct.Mode = GPIO_MODE_OUTPUT_PP;
  GPIO_InitStruct.Pull = GPIO_NOPULL;
  GPIO_InitStruct.Speed = GPIO_SPEED_FREQ_LOW;
  HAL_GPIO_Init(GPIOD, &GPIO_InitStruct);

  /*Configure GPIO pin : OTG_FS_OverCurrent_Pin */
  GPIO_InitStruct.Pin = OTG_FS_OverCurrent_Pin;
  GPIO_InitStruct.Mode = GPIO_MODE_INPUT;
  GPIO_InitStruct.Pull = GPIO_NOPULL;
  HAL_GPIO_Init(OTG_FS_OverCurrent_GPIO_Port, &GPIO_InitStruct);

  /*Configure GPIO pin : MEMS_INT2_Pin */
  GPIO_InitStruct.Pin = MEMS_INT2_Pin;
  GPIO_InitStruct.Mode = GPIO_MODE_EVT_RISING;
  GPIO_InitStruct.Pull = GPIO_NOPULL;
  HAL_GPIO_Init(MEMS_INT2_GPIO_Port, &GPIO_InitStruct);

}

void _Error_Handler(char *file, int line)
{
  while(1)
  {
  }
}

/************************ (C) COPYRIGHT STMicroelectronics *****END OF FILE****/
